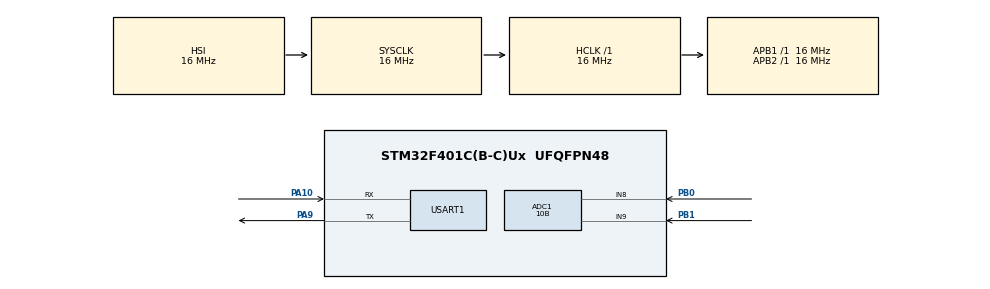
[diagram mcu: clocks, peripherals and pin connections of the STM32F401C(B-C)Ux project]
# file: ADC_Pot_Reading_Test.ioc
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ADC1.Channel-0\#ChannelRegularConversion=ADC_CHANNEL_9
ADC1.ContinuousConvMode=ENABLE
ADC1.NbrOfConversionFlag=1
ADC1.Rank-0\#ChannelRegularConversion=1
ADC1.Resolution=ADC_RESOLUTION_10B
ADC1.SamplingTime-0\#ChannelRegularConversion=ADC_SAMPLETIME_3CYCLES
ADC1.master=1
Mcu.Family=STM32F4
Mcu.Name=STM32F401C(B-C)Ux
Mcu.Package=UFQFPN48
NVIC.PriorityGroup=NVIC_PRIORITYGROUP_4
PA10.Mode=Asynchronous
PA10.Signal=USART1_RX
PA13.Mode=Serial_Wire
PA13.Signal=SYS_JTMS-SWDIO
PA14.Mode=Serial_Wire
PA14.Signal=SYS_JTCK-SWCLK
PA9.Mode=Asynchronous
PA9.Signal=USART1_TX
PB0.Signal=ADCx_IN8
PB1.Signal=ADCx_IN9
ProjectManager.HeapSize=0x200
ProjectManager.StackSize=0x400
ProjectManager.TargetToolchain=STM32CubeIDE
RCC.AHBFreq_Value=16000000
RCC.APB1Freq_Value=16000000
RCC.APB2Freq_Value=16000000
RCC.CortexFreq_Value=16000000
RCC.HSE_VALUE=25000000
RCC.HSI_VALUE=16000000
RCC.LSE_VALUE=32768
RCC.SYSCLKFreq_VALUE=16000000
RCC.VCOOutputFreq_Value=192000000
SH.ADCx_IN8.0=ADC1_IN8,IN8
SH.ADCx_IN9.0=ADC1_IN9,IN9
USART1.VirtualMode=VM_ASYNC
VP_TIM3_VS_ClockSourceINT.Mode=Internal
board=custom

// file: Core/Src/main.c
/* USER CODE BEGIN Header */
/**
  ******************************************************************************
  * @file           : main.c
  * @brief          : Main program body
  ******************************************************************************
  * @attention
  *
  * <h2><center>&copy; Copyright (c) 2022 STMicroelectronics.
  * All rights reserved.</center></h2>
  *
  * This software component is licensed by ST under BSD 3-Clause license,
  * the "License"; You may not use this file except in compliance with the
  * License. You may obtain a copy of the License at:
  *                        opensource.org/licenses/BSD-3-Clause
  *
  ******************************************************************************
  */
/* USER CODE END Header */
#include "main.h"

/* USER CODE BEGIN Includes */
#include <stdio.h>
#include <string.h>
/* USER CODE END Includes */

ADC_HandleTypeDef hadc1;

TIM_HandleTypeDef htim3;

UART_HandleTypeDef huart1;

void SystemClock_Config(void);
static void MX_GPIO_Init(void);
static void MX_ADC1_Init(void);
static void MX_USART1_UART_Init(void);
static void MX_TIM3_Init(void);

/* USER CODE BEGIN 0 */

uint16_t readValue1;
uint16_t readValue2;
	char charData1[30];
	char charData2[15];

/* USER CODE END 0 */

int main(void)
{

  /* MCU Configuration--------------------------------------------------------*/

  /* Reset of all peripherals, Initializes the Flash interface and the Systick. */
  HAL_Init();

  /* Configure the system clock */
  SystemClock_Config();

  /* Initialize all configured peripherals */
  MX_GPIO_Init();
  MX_ADC1_Init();
  MX_USART1_UART_Init();
  MX_TIM3_Init();
  /* USER CODE BEGIN 2 */

  HAL_ADC_Start(&hadc1);
  //char ATcommand[80];
  uint8_t buffer[30] = {0};

  /* USER CODE END 2 */

  /* Infinite loop */
  while (1)
  {

    /* USER CODE BEGIN 3 */

//	  	  HAL_ADC_Start(&hadc1);
//	  	  HAL_ADC_PollForConversion(&hadc1,1000);
//	  	  readValue1 = HAL_ADC_GetValue(&hadc1);
//	  	  HAL_ADC_Stop(&hadc1);
//	  		  readValue1 = HAL_ADC_GetValue(&hadc1);
//	  		  sprintf(charData1,"%d\r\n",readValue1);
//	  		  HAL_UART_Transmit(&huart1,(uint8_t *)charData1,strlen(charData1),HAL_MAX_DELAY);
//	  		  HAL_UART_Receive (&huart1, buffer, 30, 100);

	  	  HAL_ADC_Start(&hadc1);
	  	  HAL_ADC_PollForConversion(&hadc1,1000);
	  	  readValue2 = HAL_ADC_GetValue(&hadc1);
	  	  HAL_ADC_Stop(&hadc1);
	  		  readValue2 = HAL_ADC_GetValue(&hadc1);
	  		  sprintf(charData2,"%d\r\n",readValue2);
	  		  HAL_UART_Transmit(&huart1,(uint8_t *)charData2,strlen(charData2),HAL_MAX_DELAY);
	  		  HAL_UART_Receive (&huart1, buffer, 30, 100);

//	  HAL_ADC_Start(&hadc1);
//	  HAL_ADC_PollForConversion(&hadc1,HAL_MAX_DELAY);
//	  readValue = HAL_ADC_GetValue(&hadc1);
//	  sprintf(charData,"%d\r\n",readValue);
//	  HAL_UART_Transmit(&huart1,(uint8_t *)charData,strlen(charData),HAL_MAX_DELAY);
//	  HAL_UART_Receive (&huart1, buffer, 30, 100);
//	  HAL_ADC_Stop(&hadc1);
//	  HAL_Delay (100);
  }

  /* USER CODE END 3 */
}

void SystemClock_Config(void)
{
  RCC_OscInitTypeDef RCC_OscInitStruct = {0};
  RCC_ClkInitTypeDef RCC_ClkInitStruct = {0};

  /** Configure the main internal regulator output voltage
  */
  __HAL_RCC_PWR_CLK_ENABLE();
  __HAL_PWR_VOLTAGESCALING_CONFIG(PWR_REGULATOR_VOLTAGE_SCALE2);
  /** Initializes the RCC Oscillators according to the specified parameters
  * in the RCC_OscInitTypeDef structure.
  */
  RCC_OscInitStruct.OscillatorType = RCC_OSCILLATORTYPE_HSI;
  RCC_OscInitStruct.HSIState = RCC_HSI_ON;
  RCC_OscInitStruct.HSICalibrationValue = RCC_HSICALIBRATION_DEFAULT;
  RCC_OscInitStruct.PLL.PLLState = RCC_PLL_NONE;
  if (HAL_RCC_OscConfig(&RCC_OscInitStruct) != HAL_OK)
  {
    Error_Handler();
  }
  /** Initializes the CPU, AHB and APB buses clocks
  */
  RCC_ClkInitStruct.ClockType = RCC_CLOCKTYPE_HCLK|RCC_CLOCKTYPE_SYSCLK
                              |RCC_CLOCKTYPE_PCLK1|RCC_CLOCKTYPE_PCLK2;
  RCC_ClkInitStruct.SYSCLKSource = RCC_SYSCLKSOURCE_HSI;
  RCC_ClkInitStruct.AHBCLKDivider = RCC_SYSCLK_DIV1;
  RCC_ClkInitStruct.APB1CLKDivider = RCC_HCLK_DIV1;
  RCC_ClkInitStruct.APB2CLKDivider = RCC_HCLK_DIV1;

  if (HAL_RCC_ClockConfig(&RCC_ClkInitStruct, FLASH_LATENCY_0) != HAL_OK)
  {
    Error_Handler();
  }
}

static void MX_ADC1_Init(void)
{

  ADC_ChannelConfTypeDef sConfig = {0};

  /** Configure the global features of the ADC (Clock, Resolution, Data Alignment and number of conversion)
  */
  hadc1.Instance = ADC1;
  hadc1.Init.ClockPrescaler = ADC_CLOCK_SYNC_PCLK_DIV2;
  hadc1.Init.Resolution = ADC_RESOLUTION_10B;
  hadc1.Init.ScanConvMode = DISABLE;
  hadc1.Init.ContinuousConvMode = ENABLE;
  hadc1.Init.DiscontinuousConvMode = DISABLE;
  hadc1.Init.ExternalTrigConvEdge = ADC_EXTERNALTRIGCONVEDGE_NONE;
  hadc1.Init.ExternalTrigConv = ADC_SOFTWARE_START;
  hadc1.Init.DataAlign = ADC_DATAALIGN_RIGHT;
  hadc1.Init.NbrOfConversion = 1;
  hadc1.Init.DMAContinuousRequests = DISABLE;
  hadc1.Init.EOCSelection = ADC_EOC_SINGLE_CONV;
  if (HAL_ADC_Init(&hadc1) != HAL_OK)
  {
    Error_Handler();
  }
  /** Configure for the selected ADC regular channel its corresponding rank in the sequencer and its sample time.
  */
  sConfig.Channel = ADC_CHANNEL_9;
  sConfig.Rank = 1;
  sConfig.SamplingTime = ADC_SAMPLETIME_3CYCLES;
  if (HAL_ADC_ConfigChannel(&hadc1, &sConfig) != HAL_OK)
  {
    Error_Handler();
  }

}

static void MX_TIM3_Init(void)
{

  TIM_ClockConfigTypeDef sClockSourceConfig = {0};
  TIM_MasterConfigTypeDef sMasterConfig = {0};

  htim3.Instance = TIM3;
  htim3.Init.Prescaler = 0;
  htim3.Init.CounterMode = TIM_COUNTERMODE_UP;
  htim3.Init.Period = 65535;
  htim3.Init.ClockDivision = TIM_CLOCKDIVISION_DIV1;
  htim3.Init.AutoReloadPreload = TIM_AUTORELOAD_PRELOAD_DISABLE;
  if (HAL_TIM_Base_Init(&htim3) != HAL_OK)
  {
    Error_Handler();
  }
  sClockSourceConfig.ClockSource = TIM_CLOCKSOURCE_INTERNAL;
  if (HAL_TIM_ConfigClockSource(&htim3, &sClockSourceConfig) != HAL_OK)
  {
    Error_Handler();
  }
  sMasterConfig.MasterOutputTrigger = TIM_TRGO_RESET;
  sMasterConfig.MasterSlaveMode = TIM_MASTERSLAVEMODE_DISABLE;
  if (HAL_TIMEx_MasterConfigSynchronization(&htim3, &sMasterConfig) != HAL_OK)
  {
    Error_Handler();
  }

}

static void MX_USART1_UART_Init(void)
{

  huart1.Instance = USART1;
  huart1.Init.BaudRate = 115200;
  huart1.Init.WordLength = UART_WORDLENGTH_8B;
  huart1.Init.StopBits = UART_STOPBITS_1;
  huart1.Init.Parity = UART_PARITY_NONE;
  huart1.Init.Mode = UART_MODE_TX_RX;
  huart1.Init.HwFlowCtl = UART_HWCONTROL_NONE;
  huart1.Init.OverSampling = UART_OVERSAMPLING_16;
  if (HAL_UART_Init(&huart1) != HAL_OK)
  {
    Error_Handler();
  }

}

static void MX_GPIO_Init(void)
{

  /* GPIO Ports Clock Enable */
  __HAL_RCC_GPIOB_CLK_ENABLE();
  __HAL_RCC_GPIOA_CLK_ENABLE();

}

void Error_Handler(void)
{
  __disable_irq();
  while (1)
  {
  }
}

/************************ (C) COPYRIGHT STMicroelectronics *****END OF FILE****/
